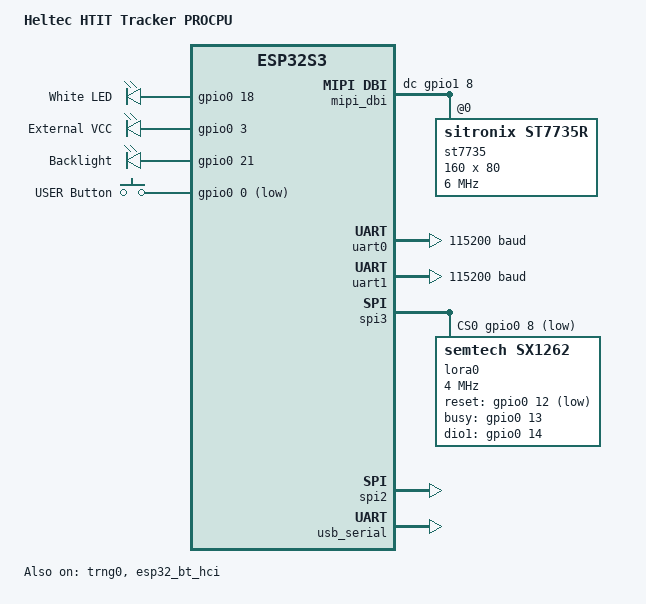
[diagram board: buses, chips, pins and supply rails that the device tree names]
/*
 * Copyright (c) 2025 Nate Aquino
 *
 * SPDX-License-Identifier: Apache-2.0
 */
/dts-v1/;

#include <espressif/esp32s3/esp32s3_fn8.dtsi>
#include "heltec_htit_tracker-pinctrl.dtsi"
#include <zephyr/dt-bindings/input/input-event-codes.h>
#include <zephyr/dt-bindings/lora/sx126x.h>
#include <espressif/partitions_0x0_amp.dtsi>

/ {
	model = "Heltec HTIT Tracker PROCPU";
	compatible = "espressif,esp32s3";

	aliases {
		uart-0 = &uart0;
		uart-1 = &uart1;
		led0 = &led0;
		sw0 = &button0;
		watchdog0 = &wdt0;
		lora0 = &lora0;
		st7735 = &st7735;
		vext = &vext;
		blight = &blight;
	};

	leds {
		compatible = "gpio-leds";
		led0: led {
			gpios = <&gpio0 18 GPIO_ACTIVE_HIGH>; 
			label = "White LED";
		};

		vext: vext { 
			gpios = <&gpio0 3 GPIO_ACTIVE_HIGH>; 
			label = "External VCC";
		};

		blight: blight {
			gpios = <&gpio0 21 GPIO_ACTIVE_HIGH>; 
			label = "Backlight";
		};
	};

	buttons {
		compatible = "gpio-keys";
		button0: button_0 {
			gpios = <&gpio0 0 (GPIO_PULL_UP | GPIO_ACTIVE_LOW)>;
			label = "USER Button";
			zephyr,code = <INPUT_KEY_0>;
		};
	};

	mipi_dbi {
		compatible = "zephyr,mipi-dbi-spi";
		dc-gpios = <&gpio1 8 GPIO_ACTIVE_HIGH>;
		spi-dev = <&spi2>;
		#address-cells = <1>;
		#size-cells = <0>;
		status = "okay";

		st7735: st7735@0 {
			compatible = "sitronix,st7735r";
			mipi-max-frequency = <DT_FREQ_M(6)>; // 6 megahertz
			mipi-mode = "MIPI_DBI_MODE_SPI_4WIRE";

			reg = <0>;
			width = <160>;
			height = <80>;
			x-offset = <1>;
			y-offset = <26>;
			madctl = <0xB7>; 
			colmod = <0x05>; // color format 16 bits
			vmctr1 = <0x2c>;
			gamctrp1 = [02 1c 07 12 37 32 29 2d 29 25 2B 39 00 01 03 10];
			gamctrn1 = [03 1d 07 06 2E 2C 29 2D 2E 2E 2B 3A 00 01 04 10];
		};
	};

	chosen {
		zephyr,sram = &sram1;
		zephyr,console = &usb_serial;
		zephyr,shell-uart = &usb_serial;
		zephyr,flash = &flash0;
		zephyr,code-partition = &slot0_partition;
		zephyr,bt-hci = &esp32_bt_hci;
		zephyr,display = &st7735;
	};
};

&flash0 {
	reg = <0x0 DT_SIZE_M(4)>;
};

&uart0 {
	status = "okay";
	current-speed = <115200>;
	pinctrl-0 = <&uart0_default>;
	pinctrl-names = "default";
};

&uart1 {
	status = "okay";
	current-speed = <115200>; // default for UC6580
	pinctrl-0 = <&uart1_default>;
	pinctrl-names = "default";
};

&gpio0 {
	status = "okay";
};

&trng0 {
	status = "okay";
};

&spi3 {  // Note: spi3 may be wrong here
    #address-cells = <1>;
    #size-cells = <0>;
    status = "okay";
    pinctrl-0 = <&spim3_default>;
    pinctrl-names = "default";
    cs-gpios = <&gpio0 8 GPIO_ACTIVE_LOW>;
    lora0: lora@0 {
        compatible = "semtech,sx1262";
        reg = <0>;
        reset-gpios = <&gpio0 12 (GPIO_OPEN_DRAIN | GPIO_ACTIVE_LOW)>;
        busy-gpios = <&gpio0 13 GPIO_ACTIVE_HIGH>;
        dio1-gpios = <&gpio0 14 GPIO_ACTIVE_HIGH>; /* SX1262 DIO1 */
		dio2-tx-enable;
		dio3-tcxo-voltage = <SX126X_DIO3_TCXO_1V8>;
		tcxo-power-startup-delay-ms = <5>;
        spi-max-frequency = <4000000>;
    };
};

&spi2 {
	#address-cells = <1>;
    #size-cells = <0>;
	status = "okay";
	pinctrl-0 = <&spim2_default>;
	pinctrl-names = "default";
	cs-gpios = <&gpio1 6 GPIO_ACTIVE_LOW>; // gpio0 38 = gpio1 6
};

&usb_serial {
	status = "okay";
};

&esp32_bt_hci {
	status = "okay";
};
